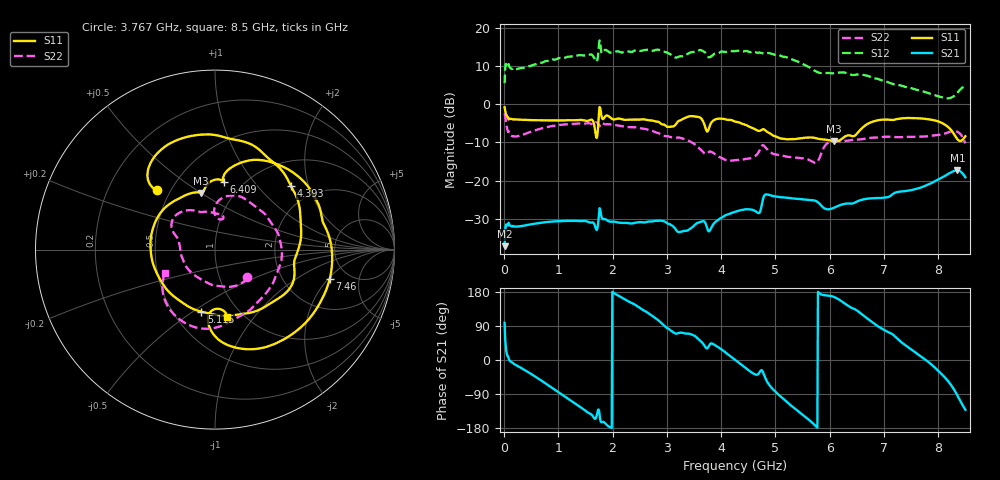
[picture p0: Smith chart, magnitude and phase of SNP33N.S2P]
!Agilent Technologies,E5071B,MY42403545,A.09.10
!Date: Thu Jul 18 07:36:20 2019
!Data & Calibration Information:
!Freq	S11:SOLT2(ON)	S21:SOLT2(ON)	S12:SOLT2(ON)	S22:SOLT2(ON)
# Hz S dB R 50
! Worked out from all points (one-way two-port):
!   801 points, 10 MHz to 8.5 GHz, reference 50 ohm
!   highest |S21| = -17.33 dB at 8.351 GHz (marker M1); lowest = -37.2 dB at 10 MHz (marker M2)
!   lowest |S11| = -9.8 dB at 6.08 GHz (marker M3), VSWR 1.96, Z = 35.5 + j25.1 ohm
!   |S11| at or under -10 dB: nowhere
!   |S22| runs from -15.4 to -2.4 dB; largest |S21 - S12| = 6.8
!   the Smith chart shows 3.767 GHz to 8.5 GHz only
!   S11 on the Smith chart (normalised r, x): 3.767 GHz: 0.42, +0.36; 4.393 GHz: 1.52, +1.55; 5.115 GHz: 0.69, -0.54; 6.409 GHz: 0.81, +0.72; 7.46 GHz: 3.58, -2.10; 8.5 GHz: 0.85, -0.74
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1e7  -0.82 -33.3  -37.19 98.1  5.50 97.3  -2.41 -11.9
8.42875e7  -4.01 -137.8  -31.05 4.4  10.51 1.0  -7.06 -23.1
7.847125e8  -4.25 94.8  -30.87 -63.8  11.33 -86.7  -6.02 -62.3
1.050025e9  -4.26 64.3  -30.63 -89.8  12.08 -122.2  -5.39 -90.2
1.432075e9  -4.13 21.6  -30.62 -126.8  12.81 -173.7  -5.08 -131.1
1.771675e9  -1.01 12.0  -27.62 -157.5  15.98 137.9  -5.19 -162.4
2.111275e9  -3.76 -56.9  -31.03 169.3  13.82 92.1  -5.60 156.0
2.42965e9  -4.03 -90.3  -31.02 144.2  14.15 49.9  -6.04 123.3
2.843538e9  -4.61 -139.3  -30.57 104.6  14.28 -14.1  -7.57 77.0
3.44845e9  -3.12 163.5  -32.43 67.7  13.61 -92.3  -9.93 1.8
3.766825e9  -6.64 134.4  -33.26 35.4  12.35 -148.2  -12.58 -41.2
4.255e9  -4.54 61.2  -28.20 1.0  13.91 146.4  -14.67 -140.3
4.392962e9  -5.16 39.9  -27.67 -14.5  13.78 124.4  -14.54 -164.4
4.711338e9  -6.99 -10.2  -28.31 -31.7  13.52 76.4  -11.96 157.3
5.114612e9  -9.02 -102.3  -24.38 -98.7  12.54 13.3  -13.50 99.4
5.677075e9  -8.73 145.8  -25.14 -165.2  9.19 -63.1  -15.00 75.6
6.08035e9  -9.77 103.7  -27.09 166.2  8.13 -102.2  -9.67 60.2
6.409338e9  -8.37 82.9  -26.03 137.4  7.67 -145.8  -9.35 36.2
7.088538e9  -4.07 20.0  -24.27 73.1  5.69 124.3  -8.52 -8.6
7.459975e9  -3.61 -14.5  -22.62 32.1  4.37 81.1  -8.55 -31.6
8.351425e9  -9.15 -94.3  -17.33 -93.1  2.99 1.5  -7.22 -117.1
8.5e9  -8.38 -79.6  -19.14 -131.4  4.69 -23.8  -10.25 -155.4
